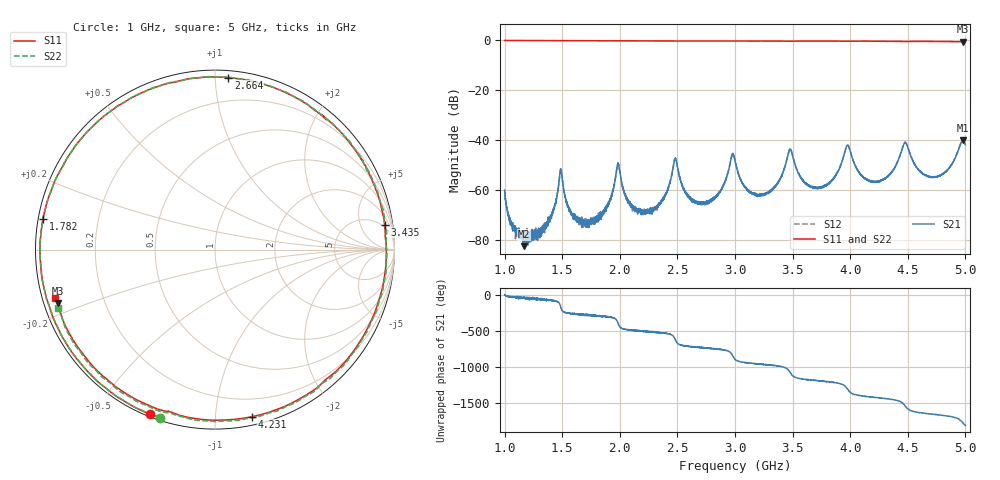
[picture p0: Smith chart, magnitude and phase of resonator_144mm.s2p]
!Keysight Technologies,N5242A,MY48420869,A.10.65.01
!Date: Wednesday, September 11, 2019 19:24:35
!Correction: S33(Full 4 Port(1,2,3,4))
!S43(Full 4 Port(1,2,3,4))
!S34(Full 4 Port(1,2,3,4))
!S44(Full 4 Port(1,2,3,4))
!S2P File: Measurements: S33, S43, S34, S44:
!Created with skrf (http://scikit-rf.org).
# Hz S RI R 50.0
!freq ReS11 ImS11 ReS21 ImS21 ReS12 ImS12 ReS22 ImS22
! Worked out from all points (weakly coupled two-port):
!   4001 points, 1 GHz to 5 GHz, reference 50 ohm
!   highest |S21| = -40.10 dB at 4.977 GHz (marker M1); lowest = -82.4 dB at 1.166 GHz (marker M2)
!   lowest |S11| = -0.7 dB at 4.98 GHz (marker M3), VSWR 26.19, Z = 1.96 - j8.26 ohm
!   |S11| at or under -10 dB: nowhere
!   |S22| runs from -0.6 to -0.1 dB; largest |S21 - S12| = 0.00024
!   S11 on the Smith chart (normalised r, x): 1 GHz: 0.01, -0.68; 1.782 GHz: 0.01, +0.09; 2.664 GHz: 0.04, +1.08; 3.435 GHz: 4, +12; 4.231 GHz: 0.06, -1.25; 5 GHz: 0.04, -0.15
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1e9  -0.3601 -0.918  0.00099 0.000147  0.000935 0.000175  -0.3061 -0.9364
1.166e9  -0.6144 -0.7667  6.66e-05 -3.67e-05  0.000117 -7.14e-05  -0.572 -0.8003
1.37e9  -0.8449 -0.4974  9.35e-05 -0.000172  0.000107 -0.000171  -0.8188 -0.5372
1.487e9  -0.9228 -0.3143  -0.00251 -0.000929  -0.00246 -0.000938  -0.9088 -0.3556
1.667e9  -0.975 -0.0191  -2.19e-05 0.000229  -6.97e-06 0.000191  -0.9749 -0.0547
1.782e9  -0.9586 0.1706  4.34e-05 0.00024  2.94e-05 0.000237  -0.9624 0.1421
1.984e9  -0.8419 0.4752  0.00308 -0.00159  0.00306 -0.00154  -0.8493 0.4608
2.11e9  -0.7255 0.6409  -0.00027 -0.000373  -0.000224 -0.00031  -0.7292 0.6366
2.334e9  -0.4405 0.8584  -0.000478 -0.000188  -0.000484 -0.000204  -0.4303 0.8646
2.482e9  -0.217 0.934  -0.00077 0.00428  -0.00079 0.0043  -0.1959 0.9377
2.664e9  0.0749 0.9585  0.000559 -4.65e-05  0.00055 -2.2e-05  0.1097 0.9552
3e9  0.5775 0.7625  -0.0039 -0.000387  -0.00385 -0.00042  0.6153 0.7324
3.196e9  0.804 0.5212  -0.000444 0.000671  -0.000455 0.000664  0.8322 0.474
3.435e9  0.9447 0.1392  0.00108 0.00287  0.00106 0.0029  0.9563 0.0839
3.667e9  0.9194 -0.2612  -0.000262 -0.00111  -0.000273 -0.00113  0.9091 -0.3079
3.977e9  0.6193 -0.7216  -0.00513 0.00609  -0.00514 0.0061  0.5952 -0.7452
4.231e9  0.2075 -0.9308  0.00145 0.00027  0.00143 0.000254  0.1947 -0.9386
4.334e9  0.0144 -0.9506  0.00194 -0.000318  0.00198 -0.000313  0.0132 -0.9573
4.474e9  -0.2401 -0.9068  -0.00148 -0.00887  -0.00149 -0.00894  -0.2311 -0.9166
4.977e9  -0.8787 -0.3024  0.00931 0.00334  0.00929 0.00337  -0.8616 -0.3559
4.98e9  -0.8771 -0.2983  0.0095 0.00242  0.00959 0.00241  -0.8636 -0.3519
5e9  -0.889 -0.2683  0.00769 -0.00256  0.00772 -0.00259  -0.8774 -0.3235
